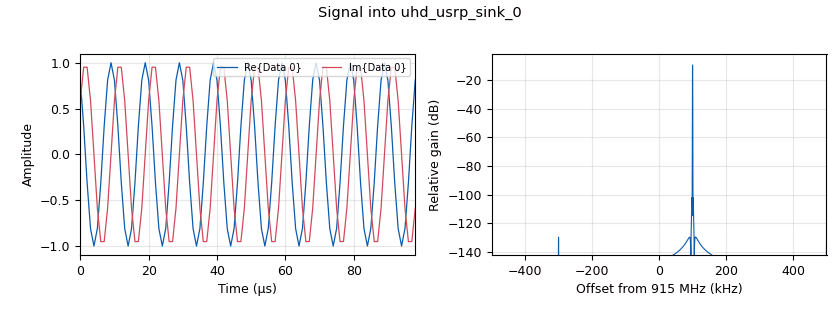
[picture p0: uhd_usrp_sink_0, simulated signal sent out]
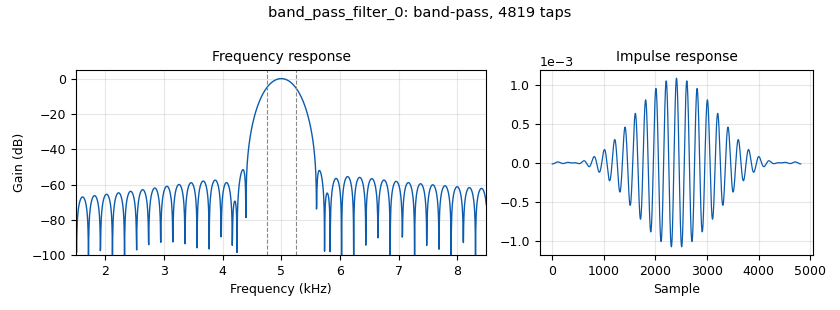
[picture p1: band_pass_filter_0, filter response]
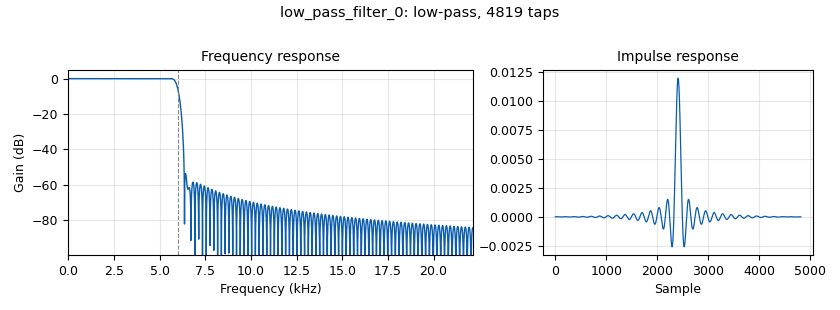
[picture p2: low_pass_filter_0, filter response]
options:
  parameters:
    author: ebaum
    generate_options: qt_gui
    id: top_block
    output_language: python
    title: Not titled yet
  states: {}

blocks:
- name: center_freq
  id: variable
  parameters:
    value: 915e6
  states: {}
- name: filter_samp_rate
  id: variable
  parameters:
    value: fsk_deviation_hz * 3
  states: {}
- name: fsk_deviation_hz
  id: variable_qtgui_entry
  parameters:
    gui_hint: 1,3,1,1
    type: real
    value: 5e3
  states: {}
- name: fsk_width_hz
  id: variable
  parameters:
    value: '500'
  states: {}
- name: rx_gain
  id: variable
  parameters:
    value: '50'
  states: {}
- name: samp_rate
  id: variable
  parameters:
    value: 1e6
  states: {}
- name: scatter_center_freq
  id: variable
  parameters:
    value: 200e3
  states: {state: disabled}
- name: scatter_center_freq
  id: variable_qtgui_entry
  parameters:
    type: real
    value: 200e3
  states: {}
- name: signal_freq
  id: variable
  parameters:
    value: 100e3
  states: {}
- name: tx_gain
  id: variable
  parameters:
    value: '0'
  states: {}
- name: tx_samp_rate
  id: variable
  parameters:
    value: 1e6
  states: {}
- name: analog_sig_source_x_0
  id: analog_sig_source_x
  parameters:
    amp: '1'
    freq: signal_freq
    offset: '0'
    phase: '0'
    samp_rate: tx_samp_rate
    type: complex
    waveform: analog.GR_COS_WAVE
  states: {}
- name: analog_sig_source_x_1
  id: analog_sig_source_x
  parameters:
    amp: '1'
    freq: '-(signal_freq + scatter_center_freq)'
    offset: '0'
    phase: '0'
    samp_rate: samp_rate
    type: complex
    waveform: analog.GR_COS_WAVE
  states: {}
- name: band_pass_filter_0
  id: band_pass_filter
  parameters:
    decim: int(samp_rate/filter_samp_rate)
    gain: '1'
    high_cutoff_freq: fsk_deviation_hz + fsk_width_hz / 2
    low_cutoff_freq: fsk_deviation_hz - fsk_width_hz / 2
    samp_rate: samp_rate
    type: fir_filter_ccf
    width: fsk_width_hz
    win: firdes.WIN_HAMMING
  states: {}
- name: blocks_file_sink_0
  id: blocks_file_sink
  parameters:
    file: /Users/ebaum/Documents/capstone/repo/processing/hamming-test/hamming-dd-bp-s15k.iq
    type: complex
  states: {}
- name: blocks_multiply_xx_0
  id: blocks_multiply_xx
  parameters:
    type: complex
  states: {}
- name: low_pass_filter_0
  id: low_pass_filter
  parameters:
    cutoff_freq: fsk_deviation_hz + 2 * fsk_width_hz
    decim: int(samp_rate/filter_samp_rate)
    gain: '1'
    samp_rate: samp_rate
    type: fir_filter_ccf
    width: fsk_width_hz
    win: firdes.WIN_HAMMING
  states: {}
- name: qtgui_freq_sink_x_0
  id: qtgui_freq_sink_x
  parameters:
    bw: filter_samp_rate
    ctrlpanel: 'True'
    fc: center_freq
    fftsize: '1024'
    nconnections: '2'
    type: complex
    wintype: firdes.WIN_BLACKMAN_hARRIS
  states: {}
- name: qtgui_waterfall_sink_x_0
  id: qtgui_waterfall_sink_x
  parameters:
    bw: filter_samp_rate
    fc: '0'
    fftsize: '256'
    type: complex
    update_time: '0.001'
    wintype: firdes.WIN_BLACKMAN_hARRIS
  states: {}
- name: uhd_usrp_sink_0
  id: uhd_usrp_sink
  parameters:
    ant0: TX/RX
    center_freq0: center_freq
    dev_args: '""'
    gain0: tx_gain
    len_tag_name: ''
    norm_gain0: 'False'
    samp_rate: tx_samp_rate
    sync: sync
    type: fc32
  states: {}
- name: uhd_usrp_source_0
  id: uhd_usrp_source
  parameters:
    ant0: RX2
    center_freq0: center_freq
    dc_offs_enb0: '""'
    dev_args: '""'
    gain0: rx_gain
    iq_imbal_enb0: '""'
    norm_gain0: 'False'
    samp_rate: samp_rate
    sync: sync
    type: fc32
  states: {}

connections:
- [analog_sig_source_x_0, '0', uhd_usrp_sink_0, '0']
- [analog_sig_source_x_1, '0', blocks_multiply_xx_0, '1']
- [band_pass_filter_0, '0', blocks_file_sink_0, '0']
- [band_pass_filter_0, '0', qtgui_freq_sink_x_0, '1']
- [band_pass_filter_0, '0', qtgui_waterfall_sink_x_0, '0']
- [blocks_multiply_xx_0, '0', band_pass_filter_0, '0']
- [blocks_multiply_xx_0, '0', low_pass_filter_0, '0']
- [low_pass_filter_0, '0', qtgui_freq_sink_x_0, '0']
- [uhd_usrp_source_0, '0', blocks_multiply_xx_0, '0']

metadata:
  file_format: 1
